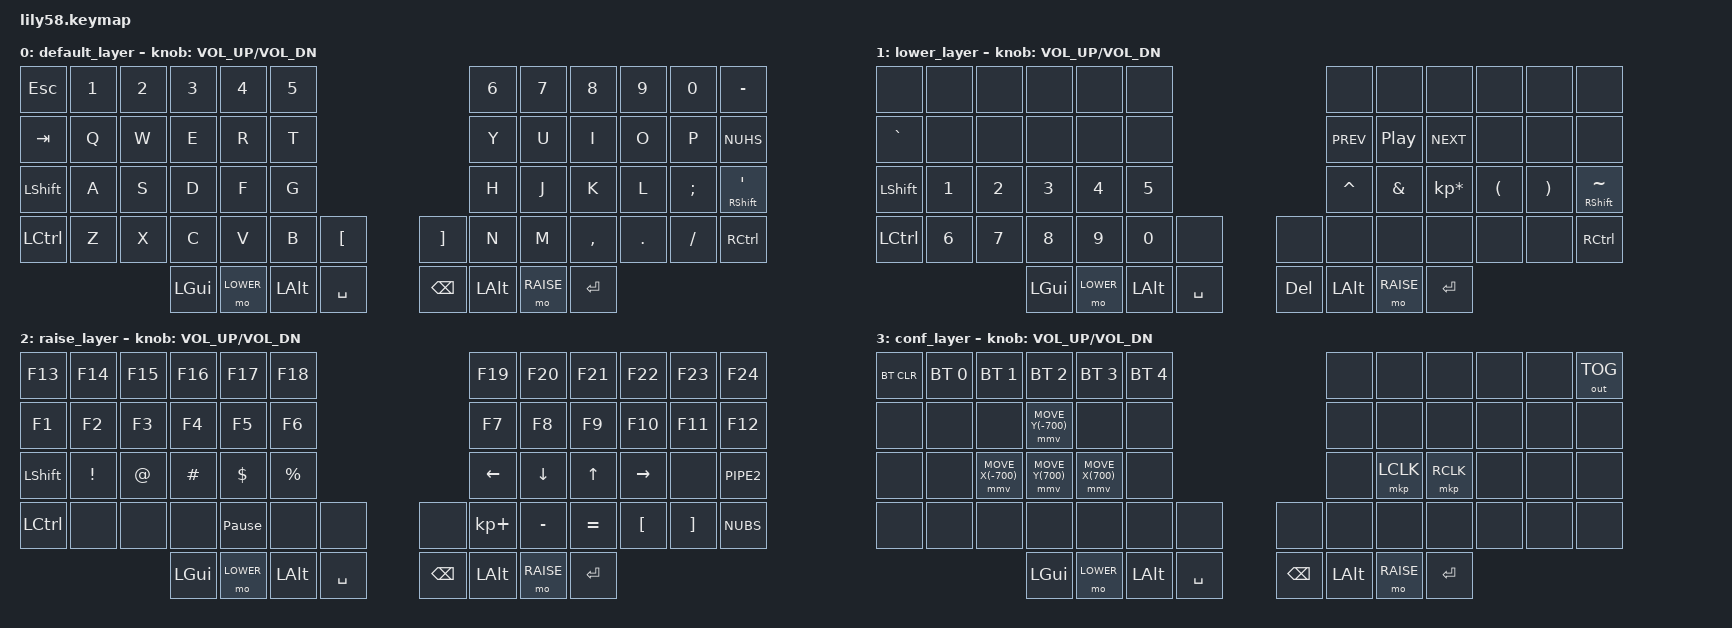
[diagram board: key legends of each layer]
/*
 * Copyright (c) 2020 The ZMK Contributors
 *
 * SPDX-License-Identifier: MIT
 */
#include <dt-bindings/zmk/pointing.h>
#include <behaviors.dtsi>
#include <dt-bindings/zmk/keys.h>
#include <dt-bindings/zmk/bt.h>
#include <dt-bindings/zmk/ext_power.h>
#include <dt-bindings/zmk/outputs.h>

#define DEFAULT 0
#define NONE 0
#define LOWER 1
#define RAISE 2
#define CONF 3
/ {
	conditional_layers {
        compatible = "zmk,conditional-layers";
        tri_layer {
            if-layers = <1 2>;
            then-layer = <3>;
        };
    };

    keymap {
        compatible = "zmk,keymap";

        default_layer {
			bindings = <
			//╭────────────┬────────────┬────────────┬────────────┬────────────┬────────────╮   			     ╭────────────┬────────────┬────────────┬────────────┬────────────┬────────────╮
			//│    ESC     │    1       │    2       │    3       │    4       │    5       │   			     │    6       │    7       │    8       │    9       │    0       │    -       │
			     &kp ESC	  &kp N1	   &kp N2       &kp N3       &kp N4       &kp N5				 &kp N6        &kp N7      &kp N8       &kp N9       &kp N0      &kp MINUS
			//├────────────┼────────────┼────────────┼────────────┼────────────┼────────────┤   			     ├────────────┼────────────┼────────────┼────────────┼────────────┼────────────┤
			//│    TAB     │    Q       │    W       │    E       │    R       │    T       │   			     │      Y     │    U       │    I       │    O       │    P       │    #       │
			     &kp TAB      &kp Q        &kp W        &kp E        &kp R        &kp T       				 &kp Y       &kp U        &kp I        &kp O        &kp P       &kp NUHS
			//├────────────┼────────────┼────────────┼────────────┼────────────┼────────────┤   			     ├────────────┼────────────┼────────────┼────────────┼────────────┼────────────┤
			//│    SHIFT   │    A       │    S       │    D       │    F       │    G       │   			     │      H     │    J       │    K       │    L       │    ;       | ' / SHIFT  │
			     &kp LSHFT	  &kp A        &kp S        &kp D        &kp F        &kp G       				  &kp H        &kp J        &kp K       &kp L        &kp SEMI     &mt RSHIFT SQT
			//├────────────┼────────────┼────────────┼────────────┼────────────┼────────────┼────────────╮   ╭───────────┼────────────┼────────────┼────────────┼────────────┼────────────┼────────────┤
			//│    CTRL    │    Z       │    X       │    C       │    V       │    B       │      [     │   │      ]    │     N      │      M     │      ,     │      .     │      /     │    CTRL    │
			     &kp LCTRL     &kp Z        &kp X        &kp C        &kp V        &kp B       &kp LBKT          &kp RBKT     &kp N       &kp M       &kp COMMA    &kp DOT      &kp FSLH     &kp RCTRL
			//╰────────────┴────────────┴────────────┼────────────┼────────────┼────────────┼────────────┤   ├───────────┼────────────┼────────────┼────────────┼────────────┴────────────┴────────────╯
			//					 │    GUI     │    LOWER   │    ALT     │    SPACE   │   │   BSPC    │    ALT     │   RAISE    │   RETURN   │
								    &kp LGUI     &mo LOWER     &kp LALT   &kp SPACE        &kp BSPC     &kp LALT    &mo RAISE     &kp RET   
			//					 ╰───────────────────────────────────────────────────╯   ╰──────────────────────────────────────────────────╯
            >;

            sensor-bindings = <&inc_dec_kp C_VOL_UP C_VOL_DN>;
        };

        lower_layer {  
			bindings = <
			//╭────────────┬────────────┬────────────┬────────────┬────────────┬────────────╮   			     ╭────────────┬────────────┬────────────┬────────────┬────────────┬────────────╮
			//│            │            │            │            │            │            │   			     │            │            │            │            │            │            │
			      &none         &none        &none        &none        &none        &none				         &none         &none        &none        &none        &none        &none   
			//├────────────┼────────────┼────────────┼────────────┼────────────┼────────────┤   			     ├────────────┼────────────┼────────────┼────────────┼────────────┼────────────┤
			//│    `       │            │            │            │            │            │   			     │ MEDIA PREV │ PLAY/PAUSE │ MEDIA NEXT │            │            │            │
			      &kp GRAVE       &none        &none        &none        &none        &none				       &kp C_PREV    &kp C_PP     &kp C_NEXT      &none        &none       &none   
			//├────────────┼────────────┼────────────┼────────────┼────────────┼────────────┤   			     ├────────────┼────────────┼────────────┼────────────┼────────────┼────────────┤
			//│    SHIFT   │    1       │    2       │    3       │    4       │    5       │   			     │      ^     │    &       │    *       │    (       │    )       │ ~ / SHIFT  │
			      &kp LSHFT	  &kp N1	   &kp N2       &kp N3       &kp N4       &kp N5			       &kp CARET     &kp AMPS   &kp KP_MULTIPLY &kp LPAR   &kp RPAR &mt RSHIFT TILDE
			//├────────────┼────────────┼────────────┼────────────┼────────────┼────────────┼────────────╮   ╭───────────┼────────────┼────────────┼────────────┼────────────┼────────────┼────────────┤
			//│    CTRL    │    6       │    7       │    8       │    9       │    0       │            │   │           │            │            │            │            │            │    CTRL    │
			      &kp LCTRL     &kp N6        &kp N7      &kp N8       &kp N9       &kp N0        &none           &none        &none         &none        &none        &none        &none      &kp RCTRL
			//╰────────────┴────────────┴────────────┼────────────┼────────────┼────────────┼────────────┤   ├───────────┼────────────┼────────────┼────────────┼────────────┴────────────┴────────────╯
			//					 │    GUI     │    LOWER   │    ALT     │    SPACE   │   │    del    │    ALT     │   RAISE    │   RETURN   │
								    &kp LGUI     &mo LOWER      &kp LALT   &kp SPACE          &kp DEL    &kp LALT    &mo RAISE     &kp RET   
			//					 ╰───────────────────────────────────────────────────╯   ╰──────────────────────────────────────────────────╯
            >;
			
            sensor-bindings = <&inc_dec_kp C_VOL_UP C_VOL_DN>;
        };

        raise_layer {
			bindings = <
			//╭────────────┬────────────┬────────────┬────────────┬────────────┬────────────╮   			     ╭────────────┬────────────┬────────────┬────────────┬────────────┬────────────╮
			//│    F13     │    F14     │    F15     │    F16     │    F17     │    F18     │   			     │    F19     │    F20     │    F21     │    F22     │      F23   │     F24    │
			    &kp F13      &kp F14       &kp F15     &kp F16       &kp F17      &kp F18				        &kp F19      &kp F20       &kp F21       &kp F22       &kp F23      &kp F24
			//├────────────┼────────────┼────────────┼────────────┼────────────┼────────────┤   			     ├────────────┼────────────┼────────────┼────────────┼────────────┼────────────┤
			//│    F1      │    F2      │    F3      │    F4      │    F5      │    F6      │   			     │     F7     │    F8      │    F9      │    F10     │    F11     │    F12     │
			     &kp F1       &kp F2        &kp F3      &kp F4       &kp F5       &kp F6				        &kp F7       &kp F8       &kp F9       &kp F10      &kp F11      &kp F12
			//├────────────┼────────────┼────────────┼────────────┼────────────┼────────────┤   			     ├────────────┼────────────┼────────────┼────────────┼────────────┼────────────┤
			//│    SHIFT   │    !       │    @       │    #       │    $       │    %       │   			     │    <-      │    v       │    ^       │    ->      │            │      |     │
			     &kp LSHFT   &kp EXCL     &kp AT        &kp HASH    &kp DOLLAR   &kp PRCNT					&kp LEFT    &kp DOWN      &kp UP       &kp RIGHT      &none    &kp PIPE2
			//├────────────┼────────────┼────────────┼────────────┼────────────┼────────────┼────────────╮   ╭───────────┼────────────┼────────────┼────────────┼────────────┼────────────┼────────────┤
			//│    CTRL    │            │            │            │pause/break │            │            │   │           │      +     │     -      │      =     │      [     │      ]     │      \     │
			    &kp LCTRL      &none        &none        &none    &kp PAUSE_BREAK  &none        &none            &none     &kp KP_PLUS  &kp MINUS    &kp EQUAL     &kp LBKT     &kp RBKT     &kp NUBS
			//╰────────────┴────────────┴────────────┼────────────┼────────────┼────────────┼────────────┤   ├───────────┼────────────┼────────────┼────────────┼────────────┴────────────┴────────────╯
			//					 │    GUI     │    LOWER   │    ALT     │    SPACE   │   │   BSPC    │    ALT     │   RAISE    │   RETURN   │
								    &kp LGUI     &mo LOWER     &kp LALT   &kp SPACE        &kp BSPC     &kp LALT    &mo RAISE     &kp RET
			//					 ╰───────────────────────────────────────────────────╯   ╰──────────────────────────────────────────────────╯
            >;
            sensor-bindings = <&inc_dec_kp C_VOL_UP C_VOL_DN>;
        };
	    
		conf_layer {
			bindings = <
			//╭────────────┬────────────┬────────────┬────────────┬────────────┬────────────╮			     ╭────────────┬────────────┬────────────┬────────────┬────────────┬────────────╮
			//│    BTCLR   │    BT1     │    BT2     │    BT3     │    BT4     │   BT5      │   			     │            │            │            │            │            │  OUT TOG   │
			    &bt BT_CLR  &bt BT_SEL 0 &bt BT_SEL 1 &bt BT_SEL 2 &bt BT_SEL 3 &bt BT_SEL 4			         &none         &none        &none        &none        &none    &out OUT_TOG
			//├────────────┼────────────┼────────────┼────────────┼────────────┼────────────┤			     ├────────────┼────────────┼────────────┼────────────┼────────────┼────────────┤
			//│            │            │            │  MOUSE UP  │            │            │			     │            │            │            │            │            │            │
			      &none         &none        &none  &mmv MOVE_Y(-700)  &none        &none					 &none         &none        &none        &none        &none        &none
			//├────────────┼────────────┼────────────┼────────────┼────────────┼────────────┤   			     ├────────────┼────────────┼────────────┼────────────┼────────────┼────────────┤
			//│            │            │ MOUSE LEFT │ MOUSE DOWN │ MOUSE RIGHT│            │			     │            │            │            │            │            │            │
			      &none   	    &none &mmv MOVE_X(-700) &mmv MOVE_Y(700) &mmv MOVE_X(700) &none				 &none      &mkp LCLK    &mkp RCLK       &none        &none        &none
			//├────────────┼────────────┼────────────┼────────────┼────────────┼────────────┼────────────╮   ╭───────────┼────────────┼────────────┼────────────┼────────────┼────────────┼────────────┤
			//│            │            │            │            │            │            │            │   │           │            │            │            │            │            │            │ 
			      &none         &none       &none        &none        &none       &none         &none            &none       &none         &none        &none        &none        &none        &none
			//╰────────────┴────────────┴────────────┼────────────┼────────────┼────────────┼────────────┤   ├───────────┼────────────┼────────────┼────────────┼────────────┴────────────┴────────────╯
			//					 │    GUI     │    LOWER   │    ALT     │    SPACE   │   │   BSPC    │    ALT     │   RAISE    │   RETURN   │
								    &kp LGUI     &mo LOWER     &kp LALT   &kp SPACE	    &kp BSPC    &kp LALT    &mo RAISE     &kp RET
			//					 ╰───────────────────────────────────────────────────╯   ╰──────────────────────────────────────────────────╯
            >;
            sensor-bindings = <&inc_dec_kp C_VOL_UP C_VOL_DN>;
        };
    };
};
